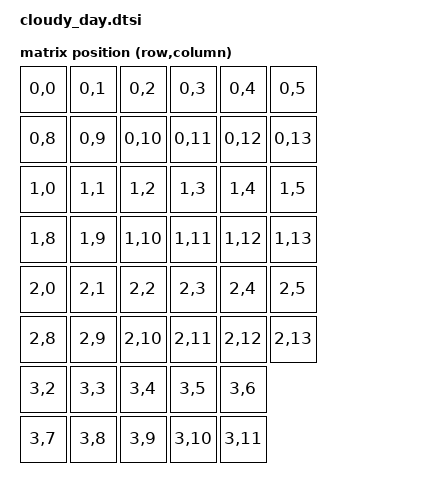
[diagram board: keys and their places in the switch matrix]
#include "cloudy_day-layouts.dtsi"
#include <dt-bindings/zmk/matrix_transform.h>

/ {
    matrix_transform0: matrix_transform0 {
        compatible = "zmk,matrix-transform";
        columns = <14>;
        rows = <4>;
        map = <
            /* Row 0: 12 keys (left 6 + right 6) */
            RC(0,0)  RC(0,1)  RC(0,2)  RC(0,3)  RC(0,4)  RC(0,5)
            RC(0,8)  RC(0,9)  RC(0,10) RC(0,11) RC(0,12) RC(0,13)
        
            /* Row 1: 12 keys */
            RC(1,0)  RC(1,1)  RC(1,2)  RC(1,3)  RC(1,4)  RC(1,5)
            RC(1,8)  RC(1,9)  RC(1,10) RC(1,11) RC(1,12) RC(1,13)
        
            /* Row 2: 12 keys */
            RC(2,0)  RC(2,1)  RC(2,2)  RC(2,3)  RC(2,4)  RC(2,5)
            RC(2,8)  RC(2,9)  RC(2,10) RC(2,11) RC(2,12) RC(2,13)
        
            /* Row 3: 10 keys, starting at col 2 (0-indexed)
               left:  cols 2,3,4,5 + solo col 6
               right: solo col 7, then normal cols 8,9,10,11
            */
            RC(3,2)  RC(3,3)  RC(3,4)  RC(3,5)  RC(3,6)
            RC(3,7)  RC(3,8)  RC(3,9)  RC(3,10) RC(3,11)
        >;
    };
};

&physical_layout_cloudy_day {
    transform = <&matrix_transform0>;
};

// Input devices
/ {
    split_inputs {
        #address-cells = <1>;
        #size-cells = <0>;

        input_split_right0: input_split_right0@0 {
            compatible = "zmk,input-split";
            reg = <0>;
            status = "disabled";
        };
    };

    input_listener_right0: input_listener_right0 {
        compatible = "zmk,input-listener";
        status = "disabled";
        device = <&input_split_right0>;
    };
};

